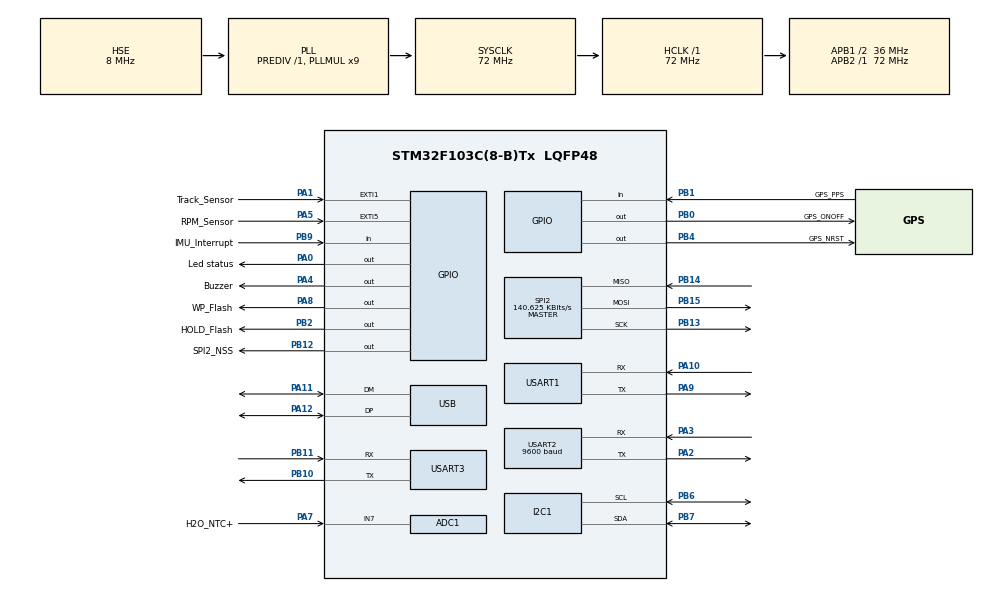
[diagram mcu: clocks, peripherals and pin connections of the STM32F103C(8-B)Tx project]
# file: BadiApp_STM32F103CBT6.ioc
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ADC1.Channel-17\#ChannelRegularConversion=ADC_CHANNEL_7
ADC1.ContinuousConvMode=DISABLE
ADC1.NbrOfConversion=1
ADC1.NbrOfConversionFlag=1
ADC1.Rank-17\#ChannelRegularConversion=1
ADC1.SamplingTime-17\#ChannelRegularConversion=ADC_SAMPLETIME_239CYCLES_5
ADC1.master=1
Dma.ADC1.0.Direction=DMA_PERIPH_TO_MEMORY
Dma.ADC1.0.Instance=DMA1_Channel1
Dma.ADC1.0.MemDataAlignment=DMA_MDATAALIGN_WORD
Dma.ADC1.0.MemInc=DMA_MINC_ENABLE
Dma.ADC1.0.Mode=DMA_NORMAL
Dma.ADC1.0.PeriphDataAlignment=DMA_PDATAALIGN_WORD
Dma.ADC1.0.PeriphInc=DMA_PINC_DISABLE
Dma.ADC1.0.Priority=DMA_PRIORITY_LOW
Dma.Request0=ADC1
Dma.Request1=USART2_TX
Dma.Request2=USART2_RX
Dma.Request3=SPI2_TX
Dma.Request4=SPI2_RX
Dma.SPI2_RX.4.Direction=DMA_PERIPH_TO_MEMORY
Dma.SPI2_RX.4.Instance=DMA1_Channel4
Dma.SPI2_RX.4.MemDataAlignment=DMA_MDATAALIGN_BYTE
Dma.SPI2_RX.4.MemInc=DMA_MINC_ENABLE
Dma.SPI2_RX.4.Mode=DMA_NORMAL
Dma.SPI2_RX.4.PeriphDataAlignment=DMA_PDATAALIGN_BYTE
Dma.SPI2_RX.4.PeriphInc=DMA_PINC_DISABLE
Dma.SPI2_RX.4.Priority=DMA_PRIORITY_LOW
Dma.SPI2_TX.3.Direction=DMA_MEMORY_TO_PERIPH
Dma.SPI2_TX.3.Instance=DMA1_Channel5
Dma.SPI2_TX.3.MemDataAlignment=DMA_MDATAALIGN_BYTE
Dma.SPI2_TX.3.MemInc=DMA_MINC_ENABLE
Dma.SPI2_TX.3.Mode=DMA_NORMAL
Dma.SPI2_TX.3.PeriphDataAlignment=DMA_PDATAALIGN_BYTE
Dma.SPI2_TX.3.PeriphInc=DMA_PINC_DISABLE
Dma.SPI2_TX.3.Priority=DMA_PRIORITY_LOW
Dma.USART2_RX.2.Direction=DMA_PERIPH_TO_MEMORY
Dma.USART2_RX.2.Instance=DMA1_Channel6
Dma.USART2_RX.2.MemDataAlignment=DMA_MDATAALIGN_BYTE
Dma.USART2_RX.2.MemInc=DMA_MINC_ENABLE
Dma.USART2_RX.2.Mode=DMA_NORMAL
Dma.USART2_RX.2.PeriphDataAlignment=DMA_PDATAALIGN_BYTE
Dma.USART2_RX.2.PeriphInc=DMA_PINC_DISABLE
Dma.USART2_RX.2.Priority=DMA_PRIORITY_LOW
Dma.USART2_TX.1.Direction=DMA_MEMORY_TO_PERIPH
Dma.USART2_TX.1.Instance=DMA1_Channel7
Dma.USART2_TX.1.MemDataAlignment=DMA_MDATAALIGN_BYTE
Dma.USART2_TX.1.MemInc=DMA_MINC_ENABLE
Dma.USART2_TX.1.Mode=DMA_NORMAL
Dma.USART2_TX.1.PeriphDataAlignment=DMA_PDATAALIGN_BYTE
Dma.USART2_TX.1.PeriphInc=DMA_PINC_DISABLE
Dma.USART2_TX.1.Priority=DMA_PRIORITY_LOW
Mcu.Family=STM32F1
Mcu.Name=STM32F103C(8-B)Tx
Mcu.Package=LQFP48
NVIC.DMA1_Channel1_IRQn=true\:0\:0\:false\:false\:true\:false\:true\:true
NVIC.DMA1_Channel4_IRQn=true\:0\:0\:false\:false\:true\:false\:true\:true
NVIC.DMA1_Channel5_IRQn=true\:0\:0\:false\:false\:true\:false\:true\:true
NVIC.DMA1_Channel6_IRQn=true\:0\:0\:false\:false\:true\:false\:true\:true
NVIC.DMA1_Channel7_IRQn=true\:0\:0\:false\:false\:true\:false\:true\:true
NVIC.EXTI1_IRQn=true\:0\:0\:false\:false\:true\:true\:true\:true
NVIC.EXTI9_5_IRQn=true\:0\:0\:false\:false\:true\:true\:true\:true
NVIC.PriorityGroup=NVIC_PRIORITYGROUP_4
NVIC.USART2_IRQn=true\:0\:0\:false\:false\:true\:true\:true\:true
NVIC.USB_LP_CAN1_RX0_IRQn=true\:0\:0\:false\:false\:true\:false\:true\:true
PA0-WKUP.GPIO_Label=Led status
PA0-WKUP.Signal=GPIO_Output
PA1.GPIO_Label=Track_Sensor
PA1.GPIO_ModeDefaultEXTI=GPIO_MODE_IT_FALLING
PA1.Signal=GPXTI1
PA10.Mode=Asynchronous
PA10.Signal=USART1_RX
PA11.Mode=Device
PA11.Signal=USB_DM
PA12.Mode=Device
PA12.Signal=USB_DP
PA13.Mode=Trace_Asynchronous_SW
PA13.Signal=SYS_JTMS-SWDIO
PA14.Mode=Trace_Asynchronous_SW
PA14.Signal=SYS_JTCK-SWCLK
PA2.Mode=Asynchronous
PA2.Signal=USART2_TX
PA3.Mode=Asynchronous
PA3.Signal=USART2_RX
PA4.GPIO_Label=Buzzer
PA4.Signal=GPIO_Output
PA5.GPIO_Label=RPM_Sensor
PA5.GPIO_ModeDefaultEXTI=GPIO_MODE_IT_FALLING
PA5.Signal=GPXTI5
PA7.GPIO_Label=H2O_NTC+
PA7.Signal=ADCx_IN7
PA8.GPIO_Label=WP_Flash
PA8.GPIO_Speed=GPIO_SPEED_FREQ_HIGH
PA8.Signal=GPIO_Output
PA9.Mode=Asynchronous
PA9.Signal=USART1_TX
PB0.GPIO_Label=GPS_ONOFF
PB0.GPIO_Speed=GPIO_SPEED_FREQ_LOW
PB0.Signal=GPIO_Output
PB1.GPIO_Label=GPS_PPS
PB1.Signal=GPIO_Input
PB10.Mode=Asynchronous
PB10.Signal=USART3_TX
PB11.Mode=Asynchronous
PB11.Signal=USART3_RX
PB12.GPIO_Label=SPI2_NSS
PB12.GPIO_PuPd=GPIO_PULLUP
PB12.GPIO_Speed=GPIO_SPEED_FREQ_MEDIUM
PB12.Signal=GPIO_Output
PB13.Mode=Full_Duplex_Master
PB13.Signal=SPI2_SCK
PB14.Mode=Full_Duplex_Master
PB14.Signal=SPI2_MISO
PB15.Mode=Full_Duplex_Master
PB15.Signal=SPI2_MOSI
PB2.GPIO_Label=HOLD_Flash
PB2.GPIO_Speed=GPIO_SPEED_FREQ_HIGH
PB2.PinState=GPIO_PIN_RESET
PB2.Signal=GPIO_Output
PB3.Mode=Trace_Asynchronous_SW
PB3.Signal=SYS_JTDO-TRACESWO
PB4.GPIO_Label=GPS_NRST
PB4.GPIO_Speed=GPIO_SPEED_FREQ_LOW
PB4.Signal=GPIO_Output
PB6.GPIO_Pu=GPIO_PULLUP
PB6.Mode=I2C
PB6.Signal=I2C1_SCL
PB7.GPIO_Pu=GPIO_PULLUP
PB7.Mode=I2C
PB7.Signal=I2C1_SDA
PB9.GPIO_Label=IMU_Interrupt
PB9.Signal=GPIO_Input
PC14-OSC32_IN.Mode=LSE-External-Oscillator
PC14-OSC32_IN.Signal=RCC_OSC32_IN
PC15-OSC32_OUT.Mode=LSE-External-Oscillator
PC15-OSC32_OUT.Signal=RCC_OSC32_OUT
PD0-OSC_IN.Mode=HSE-External-Oscillator
PD0-OSC_IN.Signal=RCC_OSC_IN
PD1-OSC_OUT.Mode=HSE-External-Oscillator
PD1-OSC_OUT.Signal=RCC_OSC_OUT
ProjectManager.HeapSize=0x200
ProjectManager.StackSize=0x400
ProjectManager.TargetToolchain=STM32CubeIDE
RCC.ADCPresc=RCC_ADCPCLK2_DIV6
RCC.AHBFreq_Value=72000000
RCC.APB1CLKDivider=RCC_HCLK_DIV2
RCC.APB1Freq_Value=36000000
RCC.APB1TimFreq_Value=72000000
RCC.APB2Freq_Value=72000000
RCC.APB2TimFreq_Value=72000000
RCC.EnbaleCSS=true
RCC.HCLKFreq_Value=72000000
RCC.LSE_Timout=300000
RCC.PLLMUL=RCC_PLL_MUL9
RCC.RTCClockSelection=RCC_RTCCLKSOURCE_HSE_DIV128
RCC.SYSCLKFreq_VALUE=72000000
RCC.SYSCLKSource=RCC_SYSCLKSOURCE_PLLCLK
RCC.USBFreq_Value=48000000
RCC.USBPrescaler=RCC_USBCLKSOURCE_PLL_DIV1_5
RTC.AutoPrediv=RTC_AUTO_1_SECOND
RTC.Date=21
RTC.Hours=21
RTC.Minutes=21
RTC.Month=RTC_MONTH_JUNE
RTC.Seconds=21
RTC.Year=21
SH.ADCx_IN7.0=ADC1_IN7,IN7
SPI2.BaudRatePrescaler=SPI_BAUDRATEPRESCALER_256
SPI2.CRCCalculation=SPI_CRCCALCULATION_DISABLE
SPI2.CalculateBaudRate=140.625 KBits/s
SPI2.Direction=SPI_DIRECTION_2LINES
SPI2.Mode=SPI_MODE_MASTER
SPI2.VirtualType=VM_MASTER
USART1.VirtualMode=VM_ASYNC
USART2.BaudRate=9600
USART2.VirtualMode=VM_ASYNC
USART3.VirtualMode=VM_ASYNC
USB.low_power_enable=DISABLE
USB_DEVICE.CLASS_NAME_FS=CDC
USB_DEVICE.MANUFACTURER_STRING=BaidApp STM32F103
USB_DEVICE.PID_CDC_FS=1
USB_DEVICE.PRODUCT_STRING_CDC_FS=BadiApp Virtual ComPort
USB_DEVICE.VID=1
USB_DEVICE.VirtualMode=Cdc
USB_DEVICE.VirtualModeFS=Cdc_FS
VP_RTC_No_RTC_Output.Mode=RTC_OUT_NO
VP_RTC_VS_RTC_Activate.Mode=RTC_Enabled
VP_RTC_VS_RTC_Calendar.Mode=RTC_Calendar
VP_USB_DEVICE_VS_USB_DEVICE_CDC_FS.Mode=CDC_FS
board=custom

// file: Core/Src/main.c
/* USER CODE BEGIN Header */
/**
  ******************************************************************************
  * @file           : main.c
  * @brief          : Main program body
  ******************************************************************************
  * @attention
  *
  * <h2><center>&copy; Copyright (c) 2021 STMicroelectronics.
  * All rights reserved.</center></h2>
  *
  * This software component is licensed by ST under Ultimate Liberty license
  * SLA0044, the "License"; You may not use this file except in compliance with
  * the License. You may obtain a copy of the License at:
  *                             www.st.com/SLA0044
  *
  ******************************************************************************
  */
/* USER CODE END Header */
#include "main.h"
#include "usb_device.h"

/* USER CODE BEGIN Includes */
#include "usbd_cdc_if.h"

#include "BootLoaderMng.h"

#include "MemoryMng.h"

#include "BluetoothMng.h"

#include "RPM_Counter.h"
#include "Lap_Timer.h"
#include "Temperature_Sensor.h"
/* USER CODE END Includes */

ADC_HandleTypeDef hadc1;
DMA_HandleTypeDef hdma_adc1;

I2C_HandleTypeDef hi2c1;

RTC_HandleTypeDef hrtc;

SPI_HandleTypeDef hspi2;
DMA_HandleTypeDef hdma_spi2_tx;
DMA_HandleTypeDef hdma_spi2_rx;

UART_HandleTypeDef huart1;
UART_HandleTypeDef huart2;
UART_HandleTypeDef huart3;
DMA_HandleTypeDef hdma_usart2_tx;
DMA_HandleTypeDef hdma_usart2_rx;

void SystemClock_Config(void);
static void MX_GPIO_Init(void);
static void MX_DMA_Init(void);
static void MX_ADC1_Init(void);
static void MX_I2C1_Init(void);
static void MX_RTC_Init(void);
static void MX_SPI2_Init(void);
static void MX_USART1_UART_Init(void);
static void MX_USART2_UART_Init(void);
static void MX_USART3_UART_Init(void);

int main(void)
{

  /* MCU Configuration--------------------------------------------------------*/

  /* Reset of all peripherals, Initializes the Flash interface and the Systick. */
  HAL_Init();

  /* Configure the system clock */
  SystemClock_Config();

  /* Initialize all configured peripherals */
  MX_GPIO_Init();
  MX_DMA_Init();
  MX_ADC1_Init();
  MX_I2C1_Init();
  MX_RTC_Init();
  MX_SPI2_Init();
  MX_USART1_UART_Init();
  MX_USART2_UART_Init();
  MX_USART3_UART_Init();
  MX_USB_DEVICE_Init();
  /* USER CODE BEGIN 2 */
  // Calibrate The ADC On Power-Up For Better Accuracy
  HAL_ADCEx_Calibration_Start(&hadc1);
  //Initialization of "micros" counter
  CoreDebug->DEMCR |= CoreDebug_DEMCR_TRCENA_Msk;
  DWT->CTRL |= DWT_CTRL_CYCCNTENA_Msk;

  /*************/
  /*Init Funct**/
  /*************/
  //Initialization of "BootLoader"
  initBootLoaderMode();
  //Initialization of "NOR memory"
  initMemory(&hspi2);
  //Initialization of "Bluetooth"
  initBluetoothCommunication(&huart2);
  //Initialization of "RPM counter"
  initCounterRPM();
  //Initialization of "Track counter"
  initCounterLap();
  //Initialization of "Read temperature"
  initReadTemperature();

  /*************/
  /*****USB*****/
  /*************/
  char txtBufUSB[BUFFER_USB_LENGTH];
  uint16_t sizeBuffUSB = 0;

#ifdef DebugRPM
  uint8_t RPMdelay = 60; //From 5 to 60
  uint8_t RPMincreasing = 1; //From 0 to 1
#endif
  /* USER CODE END 2 */

  /* Infinite loop */
  while (1)
  {

    /* USER CODE BEGIN 3 */
	  uint32_t currentMillis = HAL_GetTick();
	  uint8_t logUpdated = 0;
	  //Write log data
	  if(currentMillis-previousMillis_LogUpdate > DELAY_LOG_UPDATE_TIME) {
		  calculateRPM();
		  //LOG
		  if(engineStatus == TurnedOn) {
			  //Session started
			  updateLog( "%u" SESSION, 111, 0); //4 Characters
		  }
		  if(engineStatus != Off) {
			  //RPM value
			  updateLog( "%u" RPM_SYMBOL, RPM_Value, 0); //6 Characters
			  if(engineStatus == TurnedOff) {
				  //Session finished
				  updateLog( "%u" SESSION, 111, 1); //4 Characters
			  }
		  }
		  //Update counter
		  previousMillis_LogUpdate = currentMillis;
		  logUpdated = 1;
	  }
	  //RPM update
	  if(currentMillis-previousMillisRPM_Display > CALCULATE_RPM_DELTA_TIME){
		  if(!logUpdated) {
			  calculateRPM();
		  }
		  //USB
		  sizeBuffUSB += sprintf(txtBufUSB, "RPM_Value: %u ", RPM_Value);
		  //BT
		  appendBTData( "%u" RPM_SYMBOL, RPM_Value); //6 Characters
		  //Update counter
		  previousMillisRPM_Display = currentMillis;
	  }
	  //Time update
	  if(currentMillis > previousMillisLap_Display && currentMillis-previousMillisLap_Display > CALCULATE_LAP_DELTA_TIME && !LapUpdateDisplay){
		  //USB
		  sizeBuffUSB += sprintf(txtBufUSB + sizeBuffUSB, "Lap value: %lu ", currentMillis-previousMillisLap);
		  //BT
		  appendBTData("%lu" LAP_SYMBOL, currentMillis-previousMillisLap); //11 Characters
		  //Update counter
		  previousMillisLap_Display = currentMillis;
	  }
	  //Track update
	  if(LapUpdateDisplay){
		  //USB
		  sizeBuffUSB += sprintf(txtBufUSB + sizeBuffUSB, "!--! Lap value: %lu !--! ", Lap_Value);
		  //BT
		  appendBTData(LAPFINISHED_SYMBOL "%lu" LAP_SYMBOL, Lap_Value); //12 Characters
		  //LOG
		  updateLog(LAPFINISHED_SYMBOL "%lu" LAP_SYMBOL, Lap_Value, 0); //12 Characters
		  //Update counter
		  previousMillisLap_Display = currentMillis + DELAY_DISPLAY_LAP_TIME;
		  LapUpdateDisplay = 0;
	  }
	  //Temperature sensor
	  if(currentMillis-previousMillisTemperature_Display > DELAY_DISPLAY_TEMPERATUIRE_SENSOR_TIME){
		  //Calculate temperature
		  if(calculateTemperature() || bluetoothStatus == Connecting){
			  //USB
			  sizeBuffUSB += sprintf(txtBufUSB + sizeBuffUSB, "Temp: %u ", TemperatureValue);
			  //BT
			  switch(TemperatureAlarmUpdateDisplay){
				  case ProbeOk:
				  case ProbeInit:
					  //BT
					  appendBTData("%u" TEMP_SYMBOL, TemperatureValue); //6 Characters
					  //LOG
					  updateLog("%u" TEMP_SYMBOL, TemperatureValue, 0); //6 Characters
					  break;
				  case HighTemperature:
					  //BT
					  appendBTData(HIGHTEMP_SYMBOL "%u" TEMP_SYMBOL, TemperatureValue); //7 Characters
					  //LOG
					  updateLog(HIGHTEMP_SYMBOL "%u" TEMP_SYMBOL, TemperatureValue, 0); //7 Characters
					  break;
				  case ProbeNotConnected:
				  case ProbeErrorReading:
					  //BT
					  appendBTData(PROBEBROKE_SYMBOL "%u" TEMP_SYMBOL, 0); //3 Characters
					  //LOG
					  updateLog(PROBEBROKE_SYMBOL "%u" TEMP_SYMBOL, 0, 0); //3 Characters
					  break;
			  }
		  }
		  //Update counter
		  previousMillisTemperature_Display = currentMillis;
	  }
	  //Read temperature value
	  if(currentMillis-previousMillisTemperature_Read > CALCULATE_TEMPERATUIRE_SENSOR_TIME){
		  HAL_ADC_Start_DMA(&hadc1, &ActualRead, 1);
		  //Update counter
		  previousMillisTemperature_Read = currentMillis;
	  }

#ifdef debugBT
	  sizeBuffUSB = sizeBuffBT;
	  for(int i=0; i<sizeBuffBT; i++)
		  txtBufUSB[i] = txtBufBT[i];
#endif
	  //Print via USB all informations
	  if(sizeBuffUSB > 0){
		  sizeBuffUSB += sprintf(txtBufUSB + sizeBuffUSB, "\r\n");
		  memset(txtBufUSB + sizeBuffUSB, 0, BUFFER_USB_LENGTH - sizeBuffUSB); //Deleate value into unused buffer
		  CDC_Transmit_FS((uint8_t *)txtBufUSB, sizeBuffUSB);
		  sizeBuffUSB   = 0;
	  }
	  //Print via BT all informations
	  writeBTData(&huart2);
	  //Led status
	  HAL_GPIO_TogglePin (Led_status_GPIO_Port, Led_status_Pin);
#ifdef DebugRPM
	  if(RPMincreasing){
	  //RPM increase = delay decrease
		  if(RPMdelay <= 5)
			  RPMincreasing = 0;
		  else
			  RPMdelay = RPMdelay - 1;
	  } else {
	  //RPM decrease = delay increase
		  if(RPMdelay >= 60)
			  RPMincreasing = 1;
		  else
			  RPMdelay = RPMdelay + 1;
	  }

	  for(int i = 0; i < CALCULATE_RPM_DELTA_TIME; i=i+RPMdelay){
		  deltaTimeInterruptRPM(DWT->CYCCNT / (SystemCoreClock / 1000000U));
		  HAL_Delay(RPMdelay-1);
	  }
#else
	  HAL_Delay(25);
#endif
  }
  /* USER CODE END 3 */
}

void SystemClock_Config(void)
{
  RCC_OscInitTypeDef RCC_OscInitStruct = {0};
  RCC_ClkInitTypeDef RCC_ClkInitStruct = {0};
  RCC_PeriphCLKInitTypeDef PeriphClkInit = {0};

  /** Initializes the RCC Oscillators according to the specified parameters
  * in the RCC_OscInitTypeDef structure.
  */
  RCC_OscInitStruct.OscillatorType = RCC_OSCILLATORTYPE_HSE;
  RCC_OscInitStruct.HSEState = RCC_HSE_ON;
  RCC_OscInitStruct.HSEPredivValue = RCC_HSE_PREDIV_DIV1;
  RCC_OscInitStruct.HSIState = RCC_HSI_ON;
  RCC_OscInitStruct.PLL.PLLState = RCC_PLL_ON;
  RCC_OscInitStruct.PLL.PLLSource = RCC_PLLSOURCE_HSE;
  RCC_OscInitStruct.PLL.PLLMUL = RCC_PLL_MUL9;
  if (HAL_RCC_OscConfig(&RCC_OscInitStruct) != HAL_OK)
  {
    Error_Handler();
  }

  /** Initializes the CPU, AHB and APB buses clocks
  */
  RCC_ClkInitStruct.ClockType = RCC_CLOCKTYPE_HCLK|RCC_CLOCKTYPE_SYSCLK
                              |RCC_CLOCKTYPE_PCLK1|RCC_CLOCKTYPE_PCLK2;
  RCC_ClkInitStruct.SYSCLKSource = RCC_SYSCLKSOURCE_PLLCLK;
  RCC_ClkInitStruct.AHBCLKDivider = RCC_SYSCLK_DIV1;
  RCC_ClkInitStruct.APB1CLKDivider = RCC_HCLK_DIV2;
  RCC_ClkInitStruct.APB2CLKDivider = RCC_HCLK_DIV1;

  if (HAL_RCC_ClockConfig(&RCC_ClkInitStruct, FLASH_LATENCY_2) != HAL_OK)
  {
    Error_Handler();
  }
  PeriphClkInit.PeriphClockSelection = RCC_PERIPHCLK_RTC|RCC_PERIPHCLK_ADC
                              |RCC_PERIPHCLK_USB;
  PeriphClkInit.RTCClockSelection = RCC_RTCCLKSOURCE_HSE_DIV128;
  PeriphClkInit.AdcClockSelection = RCC_ADCPCLK2_DIV6;
  PeriphClkInit.UsbClockSelection = RCC_USBCLKSOURCE_PLL_DIV1_5;
  if (HAL_RCCEx_PeriphCLKConfig(&PeriphClkInit) != HAL_OK)
  {
    Error_Handler();
  }

  /** Enables the Clock Security System
  */
  HAL_RCC_EnableCSS();
}

static void MX_ADC1_Init(void)
{

  ADC_ChannelConfTypeDef sConfig = {0};

  /** Common config
  */
  hadc1.Instance = ADC1;
  hadc1.Init.ScanConvMode = ADC_SCAN_DISABLE;
  hadc1.Init.ContinuousConvMode = DISABLE;
  hadc1.Init.DiscontinuousConvMode = DISABLE;
  hadc1.Init.ExternalTrigConv = ADC_SOFTWARE_START;
  hadc1.Init.DataAlign = ADC_DATAALIGN_RIGHT;
  hadc1.Init.NbrOfConversion = 1;
  if (HAL_ADC_Init(&hadc1) != HAL_OK)
  {
    Error_Handler();
  }

  /** Configure Regular Channel
  */
  sConfig.Channel = ADC_CHANNEL_7;
  sConfig.Rank = ADC_REGULAR_RANK_1;
  sConfig.SamplingTime = ADC_SAMPLETIME_239CYCLES_5;
  if (HAL_ADC_ConfigChannel(&hadc1, &sConfig) != HAL_OK)
  {
    Error_Handler();
  }

}

static void MX_I2C1_Init(void)
{

  hi2c1.Instance = I2C1;
  hi2c1.Init.ClockSpeed = 100000;
  hi2c1.Init.DutyCycle = I2C_DUTYCYCLE_2;
  hi2c1.Init.OwnAddress1 = 0;
  hi2c1.Init.AddressingMode = I2C_ADDRESSINGMODE_7BIT;
  hi2c1.Init.DualAddressMode = I2C_DUALADDRESS_DISABLE;
  hi2c1.Init.OwnAddress2 = 0;
  hi2c1.Init.GeneralCallMode = I2C_GENERALCALL_DISABLE;
  hi2c1.Init.NoStretchMode = I2C_NOSTRETCH_DISABLE;
  if (HAL_I2C_Init(&hi2c1) != HAL_OK)
  {
    Error_Handler();
  }

}

static void MX_RTC_Init(void)
{

  RTC_TimeTypeDef sTime = {0};
  RTC_DateTypeDef DateToUpdate = {0};

  /** Initialize RTC Only
  */
  hrtc.Instance = RTC;
  hrtc.Init.AsynchPrediv = RTC_AUTO_1_SECOND;
  hrtc.Init.OutPut = RTC_OUTPUTSOURCE_NONE;
  if (HAL_RTC_Init(&hrtc) != HAL_OK)
  {
    Error_Handler();
  }

  /** Initialize RTC and set the Time and Date
  */
  sTime.Hours = 0x21;
  sTime.Minutes = 0x21;
  sTime.Seconds = 0x21;

  if (HAL_RTC_SetTime(&hrtc, &sTime, RTC_FORMAT_BCD) != HAL_OK)
  {
    Error_Handler();
  }
  DateToUpdate.WeekDay = RTC_WEEKDAY_MONDAY;
  DateToUpdate.Month = RTC_MONTH_JUNE;
  DateToUpdate.Date = 0x21;
  DateToUpdate.Year = 0x21;

  if (HAL_RTC_SetDate(&hrtc, &DateToUpdate, RTC_FORMAT_BCD) != HAL_OK)
  {
    Error_Handler();
  }

}

static void MX_SPI2_Init(void)
{

  /* SPI2 parameter configuration*/
  hspi2.Instance = SPI2;
  hspi2.Init.Mode = SPI_MODE_MASTER;
  hspi2.Init.Direction = SPI_DIRECTION_2LINES;
  hspi2.Init.DataSize = SPI_DATASIZE_8BIT;
  hspi2.Init.CLKPolarity = SPI_POLARITY_LOW;
  hspi2.Init.CLKPhase = SPI_PHASE_1EDGE;
  hspi2.Init.NSS = SPI_NSS_SOFT;
  hspi2.Init.BaudRatePrescaler = SPI_BAUDRATEPRESCALER_256;
  hspi2.Init.FirstBit = SPI_FIRSTBIT_MSB;
  hspi2.Init.TIMode = SPI_TIMODE_DISABLE;
  hspi2.Init.CRCCalculation = SPI_CRCCALCULATION_DISABLE;
  hspi2.Init.CRCPolynomial = 10;
  if (HAL_SPI_Init(&hspi2) != HAL_OK)
  {
    Error_Handler();
  }

}

static void MX_USART1_UART_Init(void)
{

  huart1.Instance = USART1;
  huart1.Init.BaudRate = 115200;
  huart1.Init.WordLength = UART_WORDLENGTH_8B;
  huart1.Init.StopBits = UART_STOPBITS_1;
  huart1.Init.Parity = UART_PARITY_NONE;
  huart1.Init.Mode = UART_MODE_TX_RX;
  huart1.Init.HwFlowCtl = UART_HWCONTROL_NONE;
  huart1.Init.OverSampling = UART_OVERSAMPLING_16;
  if (HAL_UART_Init(&huart1) != HAL_OK)
  {
    Error_Handler();
  }

}

static void MX_USART2_UART_Init(void)
{

  huart2.Instance = USART2;
  huart2.Init.BaudRate = 9600;
  huart2.Init.WordLength = UART_WORDLENGTH_8B;
  huart2.Init.StopBits = UART_STOPBITS_1;
  huart2.Init.Parity = UART_PARITY_NONE;
  huart2.Init.Mode = UART_MODE_TX_RX;
  huart2.Init.HwFlowCtl = UART_HWCONTROL_NONE;
  huart2.Init.OverSampling = UART_OVERSAMPLING_16;
  if (HAL_UART_Init(&huart2) != HAL_OK)
  {
    Error_Handler();
  }

}

static void MX_USART3_UART_Init(void)
{

  huart3.Instance = USART3;
  huart3.Init.BaudRate = 115200;
  huart3.Init.WordLength = UART_WORDLENGTH_8B;
  huart3.Init.StopBits = UART_STOPBITS_1;
  huart3.Init.Parity = UART_PARITY_NONE;
  huart3.Init.Mode = UART_MODE_TX_RX;
  huart3.Init.HwFlowCtl = UART_HWCONTROL_NONE;
  huart3.Init.OverSampling = UART_OVERSAMPLING_16;
  if (HAL_UART_Init(&huart3) != HAL_OK)
  {
    Error_Handler();
  }

}

static void MX_DMA_Init(void)
{

  /* DMA controller clock enable */
  __HAL_RCC_DMA1_CLK_ENABLE();

  /* DMA interrupt init */
  /* DMA1_Channel1_IRQn interrupt configuration */
  HAL_NVIC_SetPriority(DMA1_Channel1_IRQn, 0, 0);
  HAL_NVIC_EnableIRQ(DMA1_Channel1_IRQn);
  /* DMA1_Channel4_IRQn interrupt configuration */
  HAL_NVIC_SetPriority(DMA1_Channel4_IRQn, 0, 0);
  HAL_NVIC_EnableIRQ(DMA1_Channel4_IRQn);
  /* DMA1_Channel5_IRQn interrupt configuration */
  HAL_NVIC_SetPriority(DMA1_Channel5_IRQn, 0, 0);
  HAL_NVIC_EnableIRQ(DMA1_Channel5_IRQn);
  /* DMA1_Channel6_IRQn interrupt configuration */
  HAL_NVIC_SetPriority(DMA1_Channel6_IRQn, 0, 0);
  HAL_NVIC_EnableIRQ(DMA1_Channel6_IRQn);
  /* DMA1_Channel7_IRQn interrupt configuration */
  HAL_NVIC_SetPriority(DMA1_Channel7_IRQn, 0, 0);
  HAL_NVIC_EnableIRQ(DMA1_Channel7_IRQn);

}

static void MX_GPIO_Init(void)
{
  GPIO_InitTypeDef GPIO_InitStruct = {0};

  /* GPIO Ports Clock Enable */
  __HAL_RCC_GPIOC_CLK_ENABLE();
  __HAL_RCC_GPIOD_CLK_ENABLE();
  __HAL_RCC_GPIOA_CLK_ENABLE();
  __HAL_RCC_GPIOB_CLK_ENABLE();

  /*Configure GPIO pin Output Level */
  HAL_GPIO_WritePin(GPIOA, Led_status_Pin|Buzzer_Pin|WP_Flash_Pin, GPIO_PIN_RESET);

  /*Configure GPIO pin Output Level */
  HAL_GPIO_WritePin(GPIOB, GPS_ONOFF_Pin|HOLD_Flash_Pin|SPI2_NSS_Pin|GPS_NRST_Pin, GPIO_PIN_RESET);

  /*Configure GPIO pins : Led_status_Pin Buzzer_Pin */
  GPIO_InitStruct.Pin = Led_status_Pin|Buzzer_Pin;
  GPIO_InitStruct.Mode = GPIO_MODE_OUTPUT_PP;
  GPIO_InitStruct.Pull = GPIO_NOPULL;
  GPIO_InitStruct.Speed = GPIO_SPEED_FREQ_LOW;
  HAL_GPIO_Init(GPIOA, &GPIO_InitStruct);

  /*Configure GPIO pins : Track_Sensor_Pin RPM_Sensor_Pin */
  GPIO_InitStruct.Pin = Track_Sensor_Pin|RPM_Sensor_Pin;
  GPIO_InitStruct.Mode = GPIO_MODE_IT_FALLING;
  GPIO_InitStruct.Pull = GPIO_NOPULL;
  HAL_GPIO_Init(GPIOA, &GPIO_InitStruct);

  /*Configure GPIO pins : GPS_ONOFF_Pin GPS_NRST_Pin */
  GPIO_InitStruct.Pin = GPS_ONOFF_Pin|GPS_NRST_Pin;
  GPIO_InitStruct.Mode = GPIO_MODE_OUTPUT_PP;
  GPIO_InitStruct.Pull = GPIO_NOPULL;
  GPIO_InitStruct.Speed = GPIO_SPEED_FREQ_LOW;
  HAL_GPIO_Init(GPIOB, &GPIO_InitStruct);

  /*Configure GPIO pins : GPS_PPS_Pin IMU_Interrupt_Pin */
  GPIO_InitStruct.Pin = GPS_PPS_Pin|IMU_Interrupt_Pin;
  GPIO_InitStruct.Mode = GPIO_MODE_INPUT;
  GPIO_InitStruct.Pull = GPIO_NOPULL;
  HAL_GPIO_Init(GPIOB, &GPIO_InitStruct);

  /*Configure GPIO pin : HOLD_Flash_Pin */
  GPIO_InitStruct.Pin = HOLD_Flash_Pin;
  GPIO_InitStruct.Mode = GPIO_MODE_OUTPUT_PP;
  GPIO_InitStruct.Pull = GPIO_NOPULL;
  GPIO_InitStruct.Speed = GPIO_SPEED_FREQ_HIGH;
  HAL_GPIO_Init(HOLD_Flash_GPIO_Port, &GPIO_InitStruct);

  /*Configure GPIO pin : SPI2_NSS_Pin */
  GPIO_InitStruct.Pin = SPI2_NSS_Pin;
  GPIO_InitStruct.Mode = GPIO_MODE_OUTPUT_PP;
  GPIO_InitStruct.Pull = GPIO_PULLUP;
  GPIO_InitStruct.Speed = GPIO_SPEED_FREQ_MEDIUM;
  HAL_GPIO_Init(SPI2_NSS_GPIO_Port, &GPIO_InitStruct);

  /*Configure GPIO pin : WP_Flash_Pin */
  GPIO_InitStruct.Pin = WP_Flash_Pin;
  GPIO_InitStruct.Mode = GPIO_MODE_OUTPUT_PP;
  GPIO_InitStruct.Pull = GPIO_NOPULL;
  GPIO_InitStruct.Speed = GPIO_SPEED_FREQ_HIGH;
  HAL_GPIO_Init(WP_Flash_GPIO_Port, &GPIO_InitStruct);

  /* EXTI interrupt init*/
  HAL_NVIC_SetPriority(EXTI1_IRQn, 0, 0);
  HAL_NVIC_EnableIRQ(EXTI1_IRQn);

  HAL_NVIC_SetPriority(EXTI9_5_IRQn, 0, 0);
  HAL_NVIC_EnableIRQ(EXTI9_5_IRQn);

}

/* USER CODE BEGIN 4 */
// EXTI Line9 External Interrupt ISR Handler CallBackFun
void HAL_GPIO_EXTI_Callback(uint16_t GPIO_Pin)
{
    if(GPIO_Pin == Track_Sensor_Pin) // If The INT Source Is EXTI Line1 (Track_Sensor)
	{
    	deltaTimeInterruptLap(HAL_GetTick());
	}
    if(GPIO_Pin == RPM_Sensor_Pin) // If The INT Source Is EXTI Line5 (RPM_Sensor)
    {
    	deltaTimeInterruptRPM(DWT->CYCCNT / (SystemCoreClock / 1000000U));
    }
}
// ADC callback (temperature sensor)
void HAL_ADC_ConvCpltCallback(ADC_HandleTypeDef* hadc)
{
    // Conversion complete & DMA transfer complete as well
	averageRead();
}
// DMA USART Callback
void HAL_UARTEx_RxEventCallback(UART_HandleTypeDef *huart, uint16_t Size)
{
	switch(readBTData(huart, Size)){
		case LoadNewApp:
			jumpToBootLoader(FlashModeBT);
			break;
		default: break;
	}

}
// DMA SPI Callback
void HAL_SPI_TxRxCpltCallback(SPI_HandleTypeDef * hspi)
{
    if(hspi->Instance == SPI2){
    	MemoryMNG_Callback();
    }
}
/* USER CODE END 4 */

void Error_Handler(void)
{
  __disable_irq();
  while (1)
  {
  }
}
